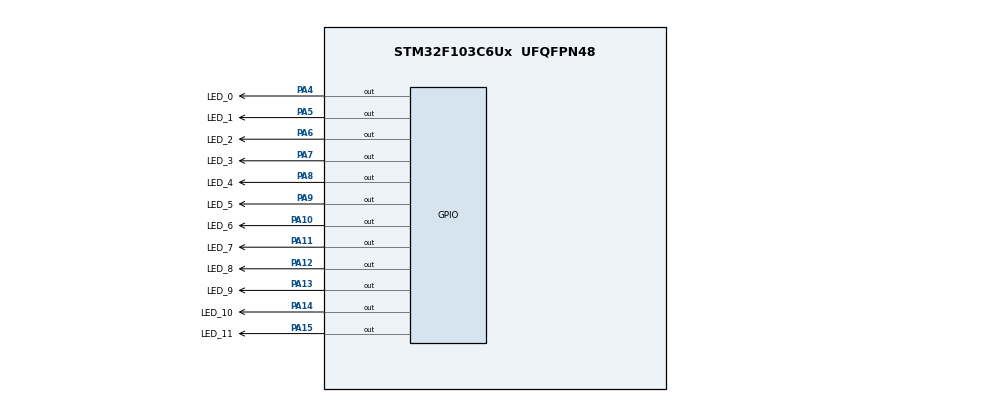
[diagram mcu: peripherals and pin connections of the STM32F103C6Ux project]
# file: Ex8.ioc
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Mcu.Family=STM32F1
Mcu.Name=STM32F103C6Ux
Mcu.Package=UFQFPN48
NVIC.PriorityGroup=NVIC_PRIORITYGROUP_4
PA10.GPIO_Label=LED_6
PA10.Signal=GPIO_Output
PA11.GPIO_Label=LED_7
PA11.Signal=GPIO_Output
PA12.GPIO_Label=LED_8
PA12.Signal=GPIO_Output
PA13.GPIO_Label=LED_9
PA13.Signal=GPIO_Output
PA14.GPIO_Label=LED_10
PA14.Signal=GPIO_Output
PA15.GPIO_Label=LED_11
PA15.Signal=GPIO_Output
PA4.GPIO_Label=LED_0
PA4.Signal=GPIO_Output
PA5.GPIO_Label=LED_1
PA5.Signal=GPIO_Output
PA6.GPIO_Label=LED_2
PA6.Signal=GPIO_Output
PA7.GPIO_Label=LED_3
PA7.Signal=GPIO_Output
PA8.GPIO_Label=LED_4
PA8.Signal=GPIO_Output
PA9.GPIO_Label=LED_5
PA9.Signal=GPIO_Output
ProjectManager.HeapSize=0x200
ProjectManager.StackSize=0x400
ProjectManager.TargetToolchain=STM32CubeIDE
RCC.APB1Freq_Value=8000000
RCC.APB2Freq_Value=8000000
VP_SYS_VS_ND.Mode=No_Debug
board=custom

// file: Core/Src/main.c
/* USER CODE BEGIN Header */
/**
  ******************************************************************************
  * @file           : main.c
  * @brief          : Main program body
  ******************************************************************************
  * @attention
  *
  * <h2><center>&copy; Copyright (c) 2022 STMicroelectronics.
  * All rights reserved.</center></h2>
  *
  * This software component is licensed by ST under BSD 3-Clause license,
  * the "License"; You may not use this file except in compliance with the
  * License. You may obtain a copy of the License at:
  *                        opensource.org/licenses/BSD-3-Clause
  *
  ******************************************************************************
  */
/* USER CODE END Header */
#include "main.h"

void SystemClock_Config(void);
static void MX_GPIO_Init(void);

/* USER CODE BEGIN 0 */
void clearAllClock(){
	  HAL_GPIO_WritePin(LED_0_GPIO_Port, LED_0_Pin, 1);
	  HAL_GPIO_WritePin(LED_1_GPIO_Port, LED_1_Pin, 1);
	  HAL_GPIO_WritePin(LED_2_GPIO_Port, LED_2_Pin, 1);
	  HAL_GPIO_WritePin(LED_3_GPIO_Port, LED_3_Pin, 1);
	  HAL_GPIO_WritePin(LED_4_GPIO_Port, LED_4_Pin, 1);
	  HAL_GPIO_WritePin(LED_5_GPIO_Port, LED_5_Pin, 1);
	  HAL_GPIO_WritePin(LED_6_GPIO_Port, LED_6_Pin, 1);
	  HAL_GPIO_WritePin(LED_7_GPIO_Port, LED_7_Pin, 1);
	  HAL_GPIO_WritePin(LED_8_GPIO_Port, LED_8_Pin, 1);
	  HAL_GPIO_WritePin(LED_9_GPIO_Port, LED_9_Pin, 1);
	  HAL_GPIO_WritePin(LED_10_GPIO_Port, LED_10_Pin, 1);
	  HAL_GPIO_WritePin(LED_11_GPIO_Port, LED_11_Pin, 1);
}

void setNumberOnClock(int num){
	clearAllClock();
	switch(num){
	case 0:
		HAL_GPIO_WritePin(LED_0_GPIO_Port, LED_0_Pin, 0);
		break;
	case 1:
		HAL_GPIO_WritePin(LED_1_GPIO_Port, LED_1_Pin, 0);
		break;
	case 2:
		HAL_GPIO_WritePin(LED_2_GPIO_Port, LED_2_Pin, 0);
		break;
	case 3:
		HAL_GPIO_WritePin(LED_3_GPIO_Port, LED_3_Pin, 0);
		break;
	case 4:
		HAL_GPIO_WritePin(LED_4_GPIO_Port, LED_4_Pin, 0);
		break;
	case 5:
		HAL_GPIO_WritePin(LED_5_GPIO_Port, LED_5_Pin, 0);
		break;
	case 6:
		HAL_GPIO_WritePin(LED_6_GPIO_Port, LED_6_Pin, 0);
		break;
	case 7:
		HAL_GPIO_WritePin(LED_7_GPIO_Port, LED_7_Pin, 0);
		break;
	case 8:
		HAL_GPIO_WritePin(LED_8_GPIO_Port, LED_8_Pin, 0);
		break;
	case 9:
		HAL_GPIO_WritePin(LED_9_GPIO_Port, LED_9_Pin, 0);
		break;
	case 10:
		HAL_GPIO_WritePin(LED_10_GPIO_Port, LED_10_Pin, 0);
		break;
	case 11:
		HAL_GPIO_WritePin(LED_11_GPIO_Port, LED_11_Pin, 0);
		break;
	default:
		break;
	}
}

/* USER CODE END 0 */

int main(void)
{

  /* MCU Configuration--------------------------------------------------------*/

  /* Reset of all peripherals, Initializes the Flash interface and the Systick. */
  HAL_Init();

  /* Configure the system clock */
  SystemClock_Config();

  /* Initialize all configured peripherals */
  MX_GPIO_Init();

  /* Infinite loop */
  /* USER CODE BEGIN WHILE */
  int count =0;
  while (1)
  {
	  switch(count){
	  case 11:
		  setNumberOnClock(count);
		  count = 0;
		  break;
	  default:
		  setNumberOnClock(count);
		  count++;
		  break;
	  }
    /* USER CODE END WHILE */
	  HAL_Delay(1000);
  }
}

void SystemClock_Config(void)
{
  RCC_OscInitTypeDef RCC_OscInitStruct = {0};
  RCC_ClkInitTypeDef RCC_ClkInitStruct = {0};

  /** Initializes the RCC Oscillators according to the specified parameters
  * in the RCC_OscInitTypeDef structure.
  */
  RCC_OscInitStruct.OscillatorType = RCC_OSCILLATORTYPE_HSI;
  RCC_OscInitStruct.HSIState = RCC_HSI_ON;
  RCC_OscInitStruct.HSICalibrationValue = RCC_HSICALIBRATION_DEFAULT;
  RCC_OscInitStruct.PLL.PLLState = RCC_PLL_NONE;
  if (HAL_RCC_OscConfig(&RCC_OscInitStruct) != HAL_OK)
  {
    Error_Handler();
  }
  /** Initializes the CPU, AHB and APB buses clocks
  */
  RCC_ClkInitStruct.ClockType = RCC_CLOCKTYPE_HCLK|RCC_CLOCKTYPE_SYSCLK
                              |RCC_CLOCKTYPE_PCLK1|RCC_CLOCKTYPE_PCLK2;
  RCC_ClkInitStruct.SYSCLKSource = RCC_SYSCLKSOURCE_HSI;
  RCC_ClkInitStruct.AHBCLKDivider = RCC_SYSCLK_DIV1;
  RCC_ClkInitStruct.APB1CLKDivider = RCC_HCLK_DIV1;
  RCC_ClkInitStruct.APB2CLKDivider = RCC_HCLK_DIV1;

  if (HAL_RCC_ClockConfig(&RCC_ClkInitStruct, FLASH_LATENCY_0) != HAL_OK)
  {
    Error_Handler();
  }
}

static void MX_GPIO_Init(void)
{
  GPIO_InitTypeDef GPIO_InitStruct = {0};

  /* GPIO Ports Clock Enable */
  __HAL_RCC_GPIOA_CLK_ENABLE();

  /*Configure GPIO pin Output Level */
  HAL_GPIO_WritePin(GPIOA, LED_0_Pin|LED_1_Pin|LED_2_Pin|LED_3_Pin
                          |LED_4_Pin|LED_5_Pin|LED_6_Pin|LED_7_Pin
                          |LED_8_Pin|LED_9_Pin|LED_10_Pin|LED_11_Pin, GPIO_PIN_RESET);

  /*Configure GPIO pins : LED_0_Pin LED_1_Pin LED_2_Pin LED_3_Pin
                           LED_4_Pin LED_5_Pin LED_6_Pin LED_7_Pin
                           LED_8_Pin LED_9_Pin LED_10_Pin LED_11_Pin */
  GPIO_InitStruct.Pin = LED_0_Pin|LED_1_Pin|LED_2_Pin|LED_3_Pin
                          |LED_4_Pin|LED_5_Pin|LED_6_Pin|LED_7_Pin
                          |LED_8_Pin|LED_9_Pin|LED_10_Pin|LED_11_Pin;
  GPIO_InitStruct.Mode = GPIO_MODE_OUTPUT_PP;
  GPIO_InitStruct.Pull = GPIO_NOPULL;
  GPIO_InitStruct.Speed = GPIO_SPEED_FREQ_LOW;
  HAL_GPIO_Init(GPIOA, &GPIO_InitStruct);

}

void Error_Handler(void)
{
  __disable_irq();
  while (1)
  {
  }
}

/************************ (C) COPYRIGHT STMicroelectronics *****END OF FILE****/
